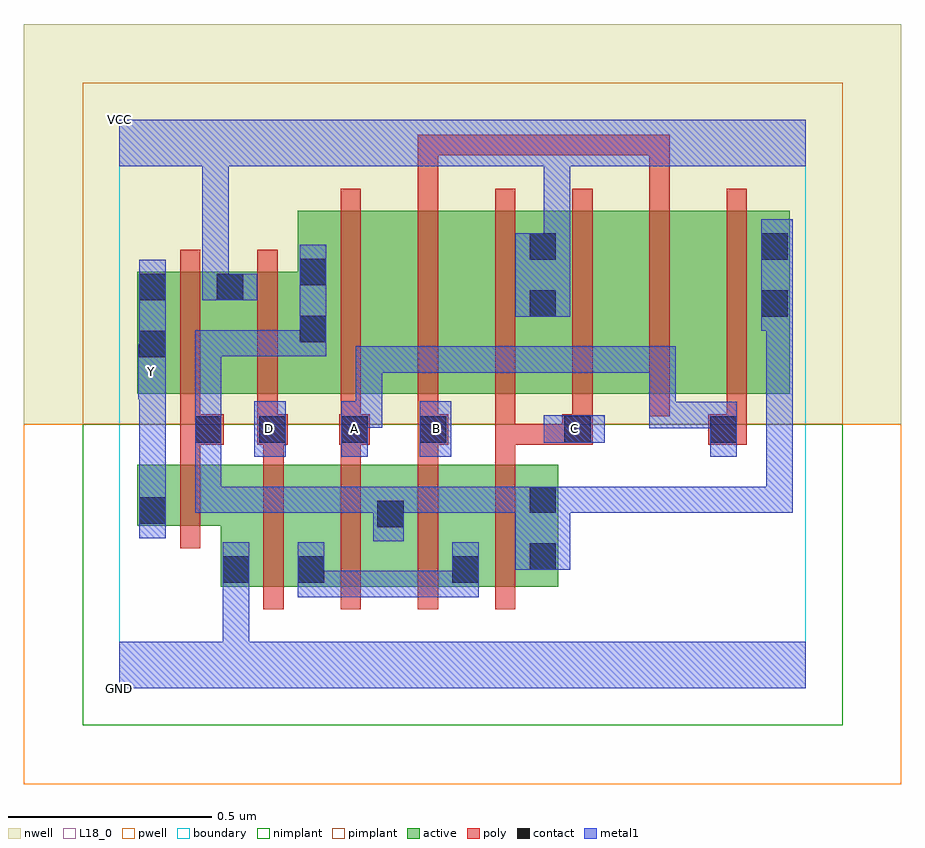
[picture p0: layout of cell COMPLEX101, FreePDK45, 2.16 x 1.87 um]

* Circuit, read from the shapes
.subckt COMPLEX101 A B C D GND VCC Y
M1 GND n1 Y VSUBS nfet w=0.15u l=0.05u
M2 n2 D GND VSUBS nfet w=0.3u l=0.05u
M3 n1 A n2 VSUBS nfet w=0.3u l=0.05u
M4 n2 B n1 VSUBS nfet w=0.3u l=0.05u
M5 n1 C n2 VSUBS nfet w=0.3u l=0.05u
M6 VCC n1 Y n3 pfet w=0.3u l=0.05u
M7 n1 D VCC n3 pfet w=0.3u l=0.05u
M8 n4 A n1 n3 pfet w=0.45u l=0.05u
M9 n5 B n4 n3 pfet w=0.45u l=0.05u
M10 VCC C n5 n3 pfet w=0.45u l=0.05u
M11 n6 C VCC n3 pfet w=0.45u l=0.05u
M12 n7 B n6 n3 pfet w=0.45u l=0.05u
M13 n1 A n7 n3 pfet w=0.45u l=0.05u
.ends

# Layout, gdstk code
import gdstk
lib = gdstk.Library(unit=1e-6, precision=1e-09)
def R(c, l, rs):  # rectangles x0, y0, x1, y1
    for r in rs: c.add(gdstk.rectangle(r[:2], r[2:], *l))
def A(c, l, x, y, w, h, nx, ny, dx, dy):  # array of equal rectangles
    R(c, l, [(x+i*dx, y+j*dy, x+i*dx+w, y+j*dy+h) for i in range(nx) for j in range(ny)])
active = (1, 0)
pwell = (2, 0)
nwell = (3, 0)
nimplant = (4, 0)
pimplant = (5, 0)
poly = (9, 0)
contact = (10, 0)
metal1 = (11, 0)
L18_0 = (18, 0)
boundary = (235, 0)

complex101 = lib.new_cell('COMPLEX101')
R(complex101, active, [(0.25,0.25,0.51,0.55), (0.435,0.25,0.705,0.55), (0.63,0.25,0.89,0.55), (0.815,0.25,1.08,0.55), (0.25,0.255,0.325,0.4), (0.435,0.255,0.51,0.392), (0.815,0.255,0.89,0.392), (1.005,0.257,1.08,0.55), (0.63,0.295,0.705,0.467), (0.045,0.4,0.325,0.55), (0.045,0.4,0.12,0.55), (0.045,0.725,0.31,1.025), (0.045,0.725,0.12,1.025), (0.235,0.725,0.515,1.025), (0.235,0.725,0.31,1.025), (0.44,0.725,0.665,1.175), (0.44,0.725,0.515,1.175), (0.665,0.725,0.855,1.175), (0.855,0.725,1.08,1.175), (1.005,0.725,1.235,1.175), (1.005,0.725,1.08,1.175), (1.235,0.725,1.425,1.175), (1.425,0.725,1.65,1.175), (1.575,0.725,1.65,1.155)])
R(complex101, pwell, [(-0.235,-0.235,1.925,0.65)])
R(complex101, nwell, [(-0.235,0.65,1.925,1.635)])
R(complex101, nimplant, [(-0.09,-0.09,1.78,0.65)])
R(complex101, pimplant, [(-0.09,0.65,1.78,1.49)])
A(complex101, poly, 0.355, 0.195, 0.05, 0.41, 4, 1, 0.19, 0)
A(complex101, poly, 0.355, 0.555, 0.05, 0.095, 4, 1, 0.19, 0)
A(complex101, poly, 0.545, 0.67, 0.05, 0.56, 5, 1, 0.19, 0)
R(complex101, poly, [(0.15,0.345,0.2,0.605), (0.15,0.555,0.2,0.65), (0.15,0.6,0.257,0.675), (0.34,0.6,0.415,0.675), (0.542,0.6,0.617,0.675), (0.735,0.6,0.81,0.675), (0.925,0.6,0.975,0.65), (0.925,0.6,1.14,0.65), (0.925,0.6,0.975,0.72), (1.09,0.6,1.14,0.65), (1.09,0.6,1.14,0.65), (1.09,0.6,1.165,0.675), (1.45,0.6,1.545,0.675), (0.15,0.625,0.2,0.72), (0.34,0.625,0.39,0.72), (0.545,0.625,0.595,0.72), (0.735,0.625,0.785,0.72), (1.115,0.625,1.165,0.72), (1.495,0.625,1.545,0.675), (1.495,0.625,1.545,1.23), (0.15,0.67,0.2,1.08), (0.34,0.67,0.39,1.08), (0.735,1.18,0.785,1.362), (1.305,1.18,1.355,1.362), (0.735,1.312,0.785,1.362), (0.735,1.312,0.785,1.362), (0.735,1.312,0.785,1.362), (0.735,1.312,0.975,1.362), (0.925,1.312,0.975,1.362), (0.925,1.312,0.975,1.362), (0.925,1.312,0.975,1.362), (0.925,1.312,1.107,1.362), (1.057,1.312,1.107,1.362), (1.057,1.312,1.272,1.362), (1.222,1.312,1.272,1.362), (1.222,1.312,1.355,1.362), (1.305,1.312,1.355,1.362)])
R(complex101, contact, [(0.255,0.26,0.32,0.325), (0.44,0.26,0.505,0.325), (0.82,0.26,0.885,0.325), (1.01,0.292,1.075,0.357), (0.635,0.397,0.7,0.462), (0.05,0.405,0.115,0.47), (1.01,0.432,1.075,0.497), (0.187,0.605,0.252,0.67), (0.345,0.605,0.41,0.67), (0.547,0.605,0.612,0.67), (0.74,0.605,0.805,0.67), (1.095,0.605,1.16,0.67), (1.455,0.605,1.52,0.67), (0.05,0.815,0.115,0.88), (0.445,0.852,0.51,0.917), (1.01,0.915,1.075,0.98), (1.58,0.915,1.645,0.98), (0.05,0.955,0.115,1.02), (0.24,0.955,0.305,1.02), (0.445,0.992,0.51,1.057), (1.01,1.055,1.075,1.12), (1.58,1.055,1.645,1.12)])
R(complex101, metal1, [(0,0,1.69,0.115), (0.255,0.05,0.32,0.115), (0.255,0.05,0.32,0.115), (0.255,0.05,0.32,0.115), (0.255,0.05,0.32,0.115), (0.255,0.05,0.32,0.29), (0.255,0.225,0.32,0.36), (0.44,0.225,0.505,0.36), (0.44,0.225,0.667,0.29), (0.602,0.225,0.667,0.29), (0.602,0.225,0.667,0.29), (0.602,0.225,0.667,0.29), (0.602,0.225,0.805,0.29), (0.74,0.225,0.805,0.29), (0.74,0.225,0.885,0.29), (0.82,0.225,0.885,0.36), (0.975,0.292,1.11,0.497), (0.625,0.362,0.7,0.497), (0.05,0.37,0.115,0.505), (0.187,0.432,0.252,0.497), (0.187,0.432,0.455,0.497), (0.187,0.432,0.252,0.705), (0.39,0.432,0.455,0.497), (0.39,0.432,0.455,0.497), (0.39,0.432,0.455,0.497), (0.39,0.432,0.667,0.497), (0.602,0.432,0.667,0.497), (0.602,0.432,0.69,0.497), (0.635,0.432,0.805,0.497), (0.74,0.432,0.805,0.497), (0.74,0.432,0.902,0.497), (0.837,0.432,0.902,0.497), (0.837,0.432,0.955,0.497), (0.89,0.432,0.955,0.497), (0.89,0.432,1.04,0.497), (1.045,0.432,1.157,0.497), (1.092,0.432,1.157,0.497), (1.092,0.432,1.332,0.497), (1.267,0.432,1.332,0.497), (1.267,0.432,1.332,0.497), (1.267,0.432,1.332,0.497), (1.267,0.432,1.507,0.497), (1.442,0.432,1.507,0.497), (1.442,0.432,1.657,0.497), (1.592,0.432,1.657,0.497), (1.592,0.432,1.657,0.497), (1.592,0.432,1.657,0.497), (1.592,0.432,1.657,0.945), (0.05,0.44,0.115,0.777), (0.187,0.57,0.252,0.705), (0.332,0.57,0.41,0.707), (0.547,0.57,0.612,0.707), (0.74,0.57,0.817,0.707), (1.455,0.57,1.52,0.705), (1.045,0.605,1.195,0.672), (0.187,0.64,0.252,0.705), (0.187,0.64,0.252,0.705), (0.187,0.64,0.252,0.882), (1.305,0.64,1.37,0.705), (1.305,0.64,1.37,0.705), (1.305,0.64,1.37,0.705), (1.305,0.64,1.507,0.705), (1.305,0.64,1.37,0.842), (1.442,0.64,1.507,0.705), (1.442,0.64,1.52,0.705), (0.547,0.642,0.647,0.707), (0.582,0.642,0.647,0.707), (0.582,0.642,0.647,0.842), (0.047,0.712,0.115,0.847), (0.582,0.777,0.647,0.842), (0.582,0.777,0.805,0.842), (0.74,0.777,0.805,0.842), (0.74,0.777,0.902,0.842), (0.837,0.777,0.902,0.842), (0.837,0.777,0.955,0.842), (0.89,0.777,0.955,0.842), (0.89,0.777,1.195,0.842), (1.13,0.777,1.195,0.842), (1.13,0.777,1.195,0.842), (1.13,0.777,1.195,0.842), (1.13,0.777,1.37,0.842), (1.305,0.777,1.37,0.842), (0.05,0.78,0.115,0.845), (0.05,0.78,0.115,1.055), (0.187,0.817,0.252,0.882), (0.187,0.817,0.455,0.882), (0.39,0.817,0.455,0.882), (0.39,0.817,0.51,0.882), (0.445,0.817,0.51,1.092), (1.58,0.88,1.657,1.155), (1.592,0.88,1.657,0.945), (1.592,0.88,1.657,0.945), (0.975,0.915,1.11,1.12), (0.205,0.955,0.27,1.02), (0.205,0.955,0.27,1.02), (0.205,0.955,0.27,1.02), (0.205,0.955,0.27,1.02), (0.205,0.955,0.27,1.35), (0.205,0.955,0.34,1.02), (1.045,1.055,1.11,1.35), (0,1.285,1.69,1.4), (1.045,1.285,1.11,1.35), (1.045,1.285,1.11,1.35)])
R(complex101, L18_0, [(0,0,1.69,0.115), (0.255,0.05,0.32,0.115), (0.255,0.05,0.32,0.115), (0.255,0.05,0.32,0.115), (0.255,0.05,0.32,0.115), (0.255,0.05,0.32,0.29), (0.255,0.225,0.32,0.36), (0.05,0.37,0.115,0.505), (0.05,0.44,0.115,0.777), (0.332,0.57,0.41,0.707), (0.547,0.57,0.612,0.707), (0.74,0.57,0.817,0.707), (1.455,0.57,1.52,0.705), (1.045,0.605,1.195,0.672), (0.337,0.607,0.402,0.672), (0.547,0.607,0.612,0.672), (0.747,0.607,0.812,0.672), (1.087,0.607,1.152,0.672), (1.305,0.64,1.37,0.705), (1.305,0.64,1.37,0.705), (1.305,0.64,1.37,0.705), (1.305,0.64,1.37,0.842), (1.305,0.64,1.507,0.705), (1.442,0.64,1.507,0.705), (1.442,0.64,1.52,0.705), (0.547,0.642,0.647,0.707), (0.582,0.642,0.647,0.707), (0.582,0.642,0.647,0.842), (0.047,0.712,0.115,0.847), (0.047,0.747,0.112,0.812), (0.582,0.777,0.647,0.842), (0.582,0.777,0.805,0.842), (0.74,0.777,0.805,0.842), (0.74,0.777,0.902,0.842), (0.837,0.777,0.902,0.842), (0.837,0.777,0.955,0.842), (0.89,0.777,0.955,0.842), (0.89,0.777,1.195,0.842), (1.13,0.777,1.195,0.842), (1.13,0.777,1.195,0.842), (1.13,0.777,1.195,0.842), (1.13,0.777,1.37,0.842), (1.305,0.777,1.37,0.842), (0.05,0.78,0.115,1.055), (0.05,0.78,0.115,0.845), (0.975,0.915,1.11,1.12), (0.205,0.955,0.27,1.02), (0.205,0.955,0.27,1.02), (0.205,0.955,0.27,1.02), (0.205,0.955,0.27,1.02), (0.205,0.955,0.34,1.02), (0.205,0.955,0.27,1.35), (1.045,1.055,1.11,1.35), (0,1.285,1.69,1.4), (1.045,1.285,1.11,1.35), (1.045,1.285,1.11,1.35)])
R(complex101, boundary, [(0,0,1.69,1.4)])
complex101.add(gdstk.Label('A', (0.58,0.64), layer=11, texttype=0))
complex101.add(gdstk.Label('B', (0.78,0.64), layer=11, texttype=0))
complex101.add(gdstk.Label('C', (1.12,0.64), layer=11, texttype=0))
complex101.add(gdstk.Label('D', (0.37,0.64), layer=11, texttype=0))
complex101.add(gdstk.Label('Y', (0.08,0.78), layer=11, texttype=0))
complex101.add(gdstk.Label('VCC', (0,1.4), layer=11, texttype=0))
complex101.add(gdstk.Label('GND', (0,0), layer=11, texttype=0))

lib.write_gds('COMPLEX101.gds')
